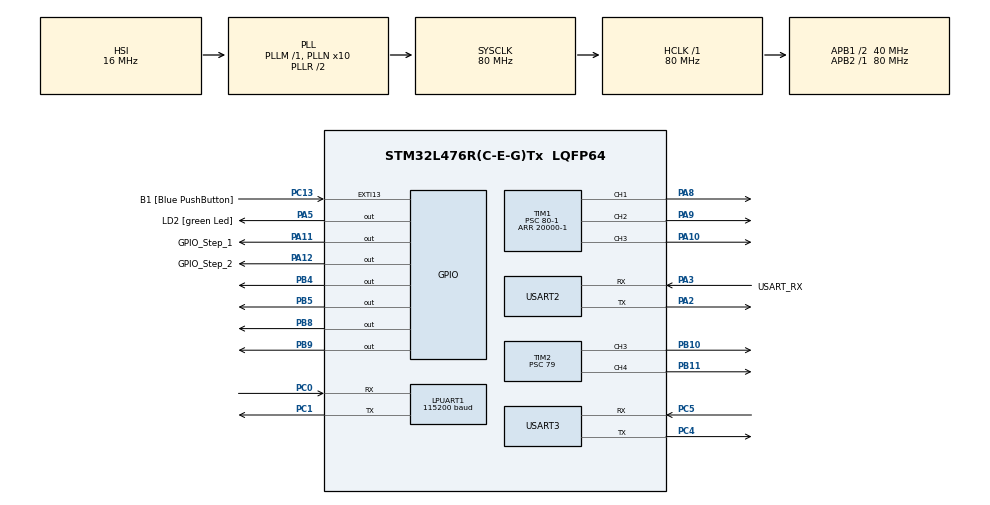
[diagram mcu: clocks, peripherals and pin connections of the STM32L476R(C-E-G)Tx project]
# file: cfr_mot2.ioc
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LPUART1.BaudRate=115200
LPUART1.WordLength=UART_WORDLENGTH_8B
Mcu.Family=STM32L4
Mcu.Name=STM32L476R(C-E-G)Tx
Mcu.Package=LQFP64
NVIC.LPUART1_IRQn=true\:0\:0\:false\:false\:true\:true\:true\:true
NVIC.PriorityGroup=NVIC_PRIORITYGROUP_4
PA10.Signal=S_TIM1_CH3
PA11.GPIO_Label=GPIO_Step_1
PA11.Signal=GPIO_Output
PA12.GPIO_Label=GPIO_Step_2
PA12.Signal=GPIO_Output
PA13\ (JTMS-SWDIO).GPIO_Label=TMS
PA13\ (JTMS-SWDIO).Mode=Serial_Wire
PA13\ (JTMS-SWDIO).Signal=SYS_JTMS-SWDIO
PA14\ (JTCK-SWCLK).GPIO_Label=TCK
PA14\ (JTCK-SWCLK).Mode=Serial_Wire
PA14\ (JTCK-SWCLK).Signal=SYS_JTCK-SWCLK
PA2.Mode=Asynchronous
PA2.Signal=USART2_TX
PA3.GPIO_Label=USART_RX
PA3.GPIO_Mode=GPIO_MODE_AF_PP
PA3.GPIO_PuPd=GPIO_NOPULL
PA3.GPIO_Speed=GPIO_SPEED_FREQ_VERY_HIGH
PA3.Mode=Asynchronous
PA3.Signal=USART2_RX
PA5.GPIO_Label=LD2 [green Led]
PA5.GPIO_ModeDefaultOutputPP=GPIO_MODE_OUTPUT_PP
PA5.GPIO_PuPd=GPIO_NOPULL
PA5.GPIO_Speed=GPIO_SPEED_FREQ_LOW
PA5.Signal=GPIO_Output
PA8.Signal=S_TIM1_CH1
PA9.Signal=S_TIM1_CH2
PB10.Signal=S_TIM2_CH3
PB11.Signal=S_TIM2_CH4
PB3\ (JTDO-TRACESWO).GPIO_Label=SWO
PB3\ (JTDO-TRACESWO).Signal=SYS_JTDO-SWO
PB4\ (NJTRST).Signal=GPIO_Output
PB5.Signal=GPIO_Output
PB8.Signal=GPIO_Output
PB9.Signal=GPIO_Output
PC0.Mode=Asynchronous
PC0.Signal=LPUART1_RX
PC1.Mode=Asynchronous
PC1.Signal=LPUART1_TX
PC13.GPIO_Label=B1 [Blue PushButton]
PC13.GPIO_ModeDefaultEXTI=GPIO_MODE_IT_FALLING
PC13.GPIO_PuPd=GPIO_NOPULL
PC13.Signal=GPXTI13
PC14-OSC32_IN\ (PC14).Mode=LSE-External-Oscillator
PC14-OSC32_IN\ (PC14).Signal=RCC_OSC32_IN
PC15-OSC32_OUT\ (PC15).Mode=LSE-External-Oscillator
PC15-OSC32_OUT\ (PC15).Signal=RCC_OSC32_OUT
PC4.Mode=Asynchronous
PC4.Signal=USART3_TX
PC5.Mode=Asynchronous
PC5.Signal=USART3_RX
PH0-OSC_IN\ (PH0).Mode=HSE-External-Oscillator
PH0-OSC_IN\ (PH0).Signal=RCC_OSC_IN
PH1-OSC_OUT\ (PH1).Mode=HSE-External-Oscillator
PH1-OSC_OUT\ (PH1).Signal=RCC_OSC_OUT
ProjectManager.HeapSize=0x200
ProjectManager.StackSize=0x400
ProjectManager.TargetToolchain=STM32CubeIDE
RCC.ADCFreq_Value=64000000
RCC.AHBFreq_Value=80000000
RCC.APB1CLKDivider=RCC_HCLK_DIV2
RCC.APB1Freq_Value=40000000
RCC.APB1TimFreq_Value=80000000
RCC.APB2Freq_Value=80000000
RCC.APB2TimFreq_Value=80000000
RCC.CortexFreq_Value=80000000
RCC.HCLKFreq_Value=80000000
RCC.HSE_VALUE=8000000
RCC.HSI_VALUE=16000000
RCC.MSI_VALUE=4000000
RCC.PLLN=10
RCC.PLLSourceVirtual=RCC_PLLSOURCE_HSI
RCC.PREFETCH_ENABLE=1
RCC.SYSCLKFreq_VALUE=80000000
RCC.SYSCLKSource=RCC_SYSCLKSOURCE_PLLCLK
RCC.USBFreq_Value=64000000
RCC.VCOOutputFreq_Value=160000000
SH.S_TIM1_CH1.0=TIM1_CH1,PWM Generation1 CH1
SH.S_TIM1_CH2.0=TIM1_CH2,PWM Generation2 CH2
SH.S_TIM1_CH3.0=TIM1_CH3,PWM Generation3 CH3
SH.S_TIM2_CH3.0=TIM2_CH3,PWM Generation3 CH3
SH.S_TIM2_CH4.0=TIM2_CH4,PWM Generation4 CH4
TIM1.Channel-PWM\ Generation1\ CH1=TIM_CHANNEL_1
TIM1.Channel-PWM\ Generation2\ CH2=TIM_CHANNEL_2
TIM1.Channel-PWM\ Generation3\ CH3=TIM_CHANNEL_3
TIM1.Period=20000-1
TIM1.Prescaler=80-1
TIM2.Channel-PWM\ Generation3\ CH3=TIM_CHANNEL_3
TIM2.Channel-PWM\ Generation4\ CH4=TIM_CHANNEL_4
TIM2.Period=1999
TIM2.Prescaler=79
USART2.VirtualMode-Asynchronous=VM_ASYNC
USART3.VirtualMode-Asynchronous=VM_ASYNC
VP_TIM1_VS_ClockSourceINT.Mode=Internal
VP_TIM2_VS_ClockSourceINT.Mode=Internal
board=NUCLEO-L476RG

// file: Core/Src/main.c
/* USER CODE BEGIN Header */
/**
  ******************************************************************************
  * @file           : main.c
  * @brief          : Main program body
  ******************************************************************************
  * @attention
  *
  * Copyright (c) 2024 STMicroelectronics.
  * All rights reserved.
  *
  * This software is licensed under terms that can be found in the LICENSE file
  * in the root directory of this software component.
  * If no LICENSE file comes with this software, it is provided AS-IS.
  *
  ******************************************************************************
  */
/* USER CODE END Header */
#include "main.h"

/* USER CODE BEGIN Includes */
#include <string.h>
#include <stdio.h>
#include "servo.h"
#include "maxon.h"
/* USER CODE END Includes */

UART_HandleTypeDef hlpuart1;
UART_HandleTypeDef huart2;
UART_HandleTypeDef huart3;

TIM_HandleTypeDef htim1;
TIM_HandleTypeDef htim2;

/* USER CODE BEGIN PV */
char rx_data[13];
char newline[] = "\r\n";
int i = 0;

/* USER CODE END PV */

void SystemClock_Config(void);
static void MX_GPIO_Init(void);
static void MX_TIM2_Init(void);
static void MX_LPUART1_UART_Init(void);
static void MX_TIM1_Init(void);
static void MX_USART2_UART_Init(void);
static void MX_USART3_UART_Init(void);

int main(void)
{

  /* MCU Configuration--------------------------------------------------------*/

  /* Reset of all peripherals, Initializes the Flash interface and the Systick. */
  HAL_Init();

  /* Configure the system clock */
  SystemClock_Config();

  /* Initialize all configured peripherals */
  MX_GPIO_Init();
  MX_TIM2_Init();
  MX_LPUART1_UART_Init();
  MX_TIM1_Init();
  MX_USART2_UART_Init();
  MX_USART3_UART_Init();
  /* USER CODE BEGIN 2 */
  HAL_TIM_PWM_Start(&htim2, TIM_CHANNEL_3); //PB10 TIM2 CH3
  HAL_TIM_PWM_Start(&htim2, TIM_CHANNEL_4); //PB11 TIM2 CH4
  HAL_TIM_PWM_Start(&htim1, TIM_CHANNEL_1); //PA8
  HAL_TIM_PWM_Start(&htim1, TIM_CHANNEL_2); //PA9
  HAL_TIM_PWM_Start(&htim1, TIM_CHANNEL_3); //PA10
  HAL_UART_Receive_IT(&hlpuart1, (uint8_t *)rx_data, sizeof(rx_data));
  /* USER CODE END 2 */

  /* Infinite loop */
  /* USER CODE BEGIN WHILE */
  while (1)
  {

	  // Pour le moteur Maxon droit
	  //char direction_d = rx_data[0]; // Premier caractère pour la direction
	  char mot_maxon_dataD[5];      // 4 caractères + '\0' pour la vitesse
	  strncpy(mot_maxon_dataD, (char *)&rx_data[1], 4);
	  mot_maxon_dataD[4] = '\0';    // Null terminate
	  int mot_maxon_valueD = atoi(mot_maxon_dataD);
	  int inv_d = rx_data[0] - '0';
	  mot_maxonD(mot_maxon_valueD, inv_d);//

	  // Pour le moteur Maxon gauche
	  //char direction_g = rx_data[5]; // Premier caractère pour la direction
	  char mot_maxon_dataG[5];      // 4 caractères + '\0' pour la vitesse
	  strncpy(mot_maxon_dataG, (char *)&rx_data[6], 4);
	  mot_maxon_dataG[4] = '\0';    // Null terminate
	  int mot_maxon_valueG = atoi(mot_maxon_dataG);
	  int inv_g = rx_data[5] - '0';
	  mot_maxonG(mot_maxon_valueG, inv_g);

	  // Pour le servo moteur
	  char servo_goal_data[4];
	  memcpy(servo_goal_data, (char *)&rx_data[10], 3);
	  servo_goal_data[3] = '\0';
	  reach_goal_servo(servo_goal_data);

	  //servo_goal_data[4] = '\r'; // Ajouter retour chariot
	  //servo_goal_data[5] = '\n';
	  //HAL_UART_Transmit(&huart3, (uint8_t *)servo_goal_data, 5, HAL_MAX_DELAY);

	  // Transmission pour debug
	  char message[15]; // 13 caractères de rx_data + 2 pour "\r\n"
	  memcpy(message, rx_data, 13); // Copier rx_data dans message
	  message[14] = '\r'; // Ajouter retour chariot
	  message[15] = '\n'; // Ajouter nouvelle ligne
	  HAL_UART_Transmit(&huart2, (uint8_t *)message, sizeof(message), HAL_MAX_DELAY);

    /* USER CODE END WHILE */

  }
}

void SystemClock_Config(void)
{
  RCC_OscInitTypeDef RCC_OscInitStruct = {0};
  RCC_ClkInitTypeDef RCC_ClkInitStruct = {0};

  /** Configure the main internal regulator output voltage
  */
  if (HAL_PWREx_ControlVoltageScaling(PWR_REGULATOR_VOLTAGE_SCALE1) != HAL_OK)
  {
    Error_Handler();
  }

  /** Initializes the RCC Oscillators according to the specified parameters
  * in the RCC_OscInitTypeDef structure.
  */
  RCC_OscInitStruct.OscillatorType = RCC_OSCILLATORTYPE_HSI;
  RCC_OscInitStruct.HSIState = RCC_HSI_ON;
  RCC_OscInitStruct.HSICalibrationValue = RCC_HSICALIBRATION_DEFAULT;
  RCC_OscInitStruct.PLL.PLLState = RCC_PLL_ON;
  RCC_OscInitStruct.PLL.PLLSource = RCC_PLLSOURCE_HSI;
  RCC_OscInitStruct.PLL.PLLM = 1;
  RCC_OscInitStruct.PLL.PLLN = 10;
  RCC_OscInitStruct.PLL.PLLP = RCC_PLLP_DIV7;
  RCC_OscInitStruct.PLL.PLLQ = RCC_PLLQ_DIV2;
  RCC_OscInitStruct.PLL.PLLR = RCC_PLLR_DIV2;
  if (HAL_RCC_OscConfig(&RCC_OscInitStruct) != HAL_OK)
  {
    Error_Handler();
  }

  /** Initializes the CPU, AHB and APB buses clocks
  */
  RCC_ClkInitStruct.ClockType = RCC_CLOCKTYPE_HCLK|RCC_CLOCKTYPE_SYSCLK
                              |RCC_CLOCKTYPE_PCLK1|RCC_CLOCKTYPE_PCLK2;
  RCC_ClkInitStruct.SYSCLKSource = RCC_SYSCLKSOURCE_PLLCLK;
  RCC_ClkInitStruct.AHBCLKDivider = RCC_SYSCLK_DIV1;
  RCC_ClkInitStruct.APB1CLKDivider = RCC_HCLK_DIV2;
  RCC_ClkInitStruct.APB2CLKDivider = RCC_HCLK_DIV1;

  if (HAL_RCC_ClockConfig(&RCC_ClkInitStruct, FLASH_LATENCY_4) != HAL_OK)
  {
    Error_Handler();
  }
}

static void MX_LPUART1_UART_Init(void)
{

  hlpuart1.Instance = LPUART1;
  hlpuart1.Init.BaudRate = 115200;
  hlpuart1.Init.WordLength = UART_WORDLENGTH_8B;
  hlpuart1.Init.StopBits = UART_STOPBITS_1;
  hlpuart1.Init.Parity = UART_PARITY_NONE;
  hlpuart1.Init.Mode = UART_MODE_TX_RX;
  hlpuart1.Init.HwFlowCtl = UART_HWCONTROL_NONE;
  hlpuart1.Init.OneBitSampling = UART_ONE_BIT_SAMPLE_DISABLE;
  hlpuart1.AdvancedInit.AdvFeatureInit = UART_ADVFEATURE_NO_INIT;
  if (HAL_UART_Init(&hlpuart1) != HAL_OK)
  {
    Error_Handler();
  }

}

static void MX_USART2_UART_Init(void)
{

  huart2.Instance = USART2;
  huart2.Init.BaudRate = 115200;
  huart2.Init.WordLength = UART_WORDLENGTH_8B;
  huart2.Init.StopBits = UART_STOPBITS_1;
  huart2.Init.Parity = UART_PARITY_NONE;
  huart2.Init.Mode = UART_MODE_TX_RX;
  huart2.Init.HwFlowCtl = UART_HWCONTROL_NONE;
  huart2.Init.OverSampling = UART_OVERSAMPLING_16;
  huart2.Init.OneBitSampling = UART_ONE_BIT_SAMPLE_DISABLE;
  huart2.AdvancedInit.AdvFeatureInit = UART_ADVFEATURE_NO_INIT;
  if (HAL_UART_Init(&huart2) != HAL_OK)
  {
    Error_Handler();
  }

}

static void MX_USART3_UART_Init(void)
{

  huart3.Instance = USART3;
  huart3.Init.BaudRate = 115200;
  huart3.Init.WordLength = UART_WORDLENGTH_8B;
  huart3.Init.StopBits = UART_STOPBITS_1;
  huart3.Init.Parity = UART_PARITY_NONE;
  huart3.Init.Mode = UART_MODE_TX_RX;
  huart3.Init.HwFlowCtl = UART_HWCONTROL_NONE;
  huart3.Init.OverSampling = UART_OVERSAMPLING_16;
  huart3.Init.OneBitSampling = UART_ONE_BIT_SAMPLE_DISABLE;
  huart3.AdvancedInit.AdvFeatureInit = UART_ADVFEATURE_NO_INIT;
  if (HAL_UART_Init(&huart3) != HAL_OK)
  {
    Error_Handler();
  }

}

static void MX_TIM1_Init(void)
{

  TIM_ClockConfigTypeDef sClockSourceConfig = {0};
  TIM_MasterConfigTypeDef sMasterConfig = {0};
  TIM_OC_InitTypeDef sConfigOC = {0};
  TIM_BreakDeadTimeConfigTypeDef sBreakDeadTimeConfig = {0};

  htim1.Instance = TIM1;
  htim1.Init.Prescaler = 80-1;
  htim1.Init.CounterMode = TIM_COUNTERMODE_UP;
  htim1.Init.Period = 20000-1;
  htim1.Init.ClockDivision = TIM_CLOCKDIVISION_DIV1;
  htim1.Init.RepetitionCounter = 0;
  htim1.Init.AutoReloadPreload = TIM_AUTORELOAD_PRELOAD_DISABLE;
  if (HAL_TIM_Base_Init(&htim1) != HAL_OK)
  {
    Error_Handler();
  }
  sClockSourceConfig.ClockSource = TIM_CLOCKSOURCE_INTERNAL;
  if (HAL_TIM_ConfigClockSource(&htim1, &sClockSourceConfig) != HAL_OK)
  {
    Error_Handler();
  }
  if (HAL_TIM_PWM_Init(&htim1) != HAL_OK)
  {
    Error_Handler();
  }
  sMasterConfig.MasterOutputTrigger = TIM_TRGO_RESET;
  sMasterConfig.MasterOutputTrigger2 = TIM_TRGO2_RESET;
  sMasterConfig.MasterSlaveMode = TIM_MASTERSLAVEMODE_DISABLE;
  if (HAL_TIMEx_MasterConfigSynchronization(&htim1, &sMasterConfig) != HAL_OK)
  {
    Error_Handler();
  }
  sConfigOC.OCMode = TIM_OCMODE_PWM1;
  sConfigOC.Pulse = 0;
  sConfigOC.OCPolarity = TIM_OCPOLARITY_HIGH;
  sConfigOC.OCNPolarity = TIM_OCNPOLARITY_HIGH;
  sConfigOC.OCFastMode = TIM_OCFAST_DISABLE;
  sConfigOC.OCIdleState = TIM_OCIDLESTATE_RESET;
  sConfigOC.OCNIdleState = TIM_OCNIDLESTATE_RESET;
  if (HAL_TIM_PWM_ConfigChannel(&htim1, &sConfigOC, TIM_CHANNEL_1) != HAL_OK)
  {
    Error_Handler();
  }
  if (HAL_TIM_PWM_ConfigChannel(&htim1, &sConfigOC, TIM_CHANNEL_2) != HAL_OK)
  {
    Error_Handler();
  }
  if (HAL_TIM_PWM_ConfigChannel(&htim1, &sConfigOC, TIM_CHANNEL_3) != HAL_OK)
  {
    Error_Handler();
  }
  sBreakDeadTimeConfig.OffStateRunMode = TIM_OSSR_DISABLE;
  sBreakDeadTimeConfig.OffStateIDLEMode = TIM_OSSI_DISABLE;
  sBreakDeadTimeConfig.LockLevel = TIM_LOCKLEVEL_OFF;
  sBreakDeadTimeConfig.DeadTime = 0;
  sBreakDeadTimeConfig.BreakState = TIM_BREAK_DISABLE;
  sBreakDeadTimeConfig.BreakPolarity = TIM_BREAKPOLARITY_HIGH;
  sBreakDeadTimeConfig.BreakFilter = 0;
  sBreakDeadTimeConfig.Break2State = TIM_BREAK2_DISABLE;
  sBreakDeadTimeConfig.Break2Polarity = TIM_BREAK2POLARITY_HIGH;
  sBreakDeadTimeConfig.Break2Filter = 0;
  sBreakDeadTimeConfig.AutomaticOutput = TIM_AUTOMATICOUTPUT_DISABLE;
  if (HAL_TIMEx_ConfigBreakDeadTime(&htim1, &sBreakDeadTimeConfig) != HAL_OK)
  {
    Error_Handler();
  }
  HAL_TIM_MspPostInit(&htim1);

}

static void MX_TIM2_Init(void)
{

  TIM_ClockConfigTypeDef sClockSourceConfig = {0};
  TIM_MasterConfigTypeDef sMasterConfig = {0};
  TIM_OC_InitTypeDef sConfigOC = {0};

  htim2.Instance = TIM2;
  htim2.Init.Prescaler = 79;
  htim2.Init.CounterMode = TIM_COUNTERMODE_UP;
  htim2.Init.Period = 1999;
  htim2.Init.ClockDivision = TIM_CLOCKDIVISION_DIV1;
  htim2.Init.AutoReloadPreload = TIM_AUTORELOAD_PRELOAD_DISABLE;
  if (HAL_TIM_Base_Init(&htim2) != HAL_OK)
  {
    Error_Handler();
  }
  sClockSourceConfig.ClockSource = TIM_CLOCKSOURCE_INTERNAL;
  if (HAL_TIM_ConfigClockSource(&htim2, &sClockSourceConfig) != HAL_OK)
  {
    Error_Handler();
  }
  if (HAL_TIM_PWM_Init(&htim2) != HAL_OK)
  {
    Error_Handler();
  }
  sMasterConfig.MasterOutputTrigger = TIM_TRGO_RESET;
  sMasterConfig.MasterSlaveMode = TIM_MASTERSLAVEMODE_DISABLE;
  if (HAL_TIMEx_MasterConfigSynchronization(&htim2, &sMasterConfig) != HAL_OK)
  {
    Error_Handler();
  }
  sConfigOC.OCMode = TIM_OCMODE_PWM1;
  sConfigOC.Pulse = 0;
  sConfigOC.OCPolarity = TIM_OCPOLARITY_HIGH;
  sConfigOC.OCFastMode = TIM_OCFAST_DISABLE;
  if (HAL_TIM_PWM_ConfigChannel(&htim2, &sConfigOC, TIM_CHANNEL_3) != HAL_OK)
  {
    Error_Handler();
  }
  if (HAL_TIM_PWM_ConfigChannel(&htim2, &sConfigOC, TIM_CHANNEL_4) != HAL_OK)
  {
    Error_Handler();
  }
  HAL_TIM_MspPostInit(&htim2);

}

static void MX_GPIO_Init(void)
{
  GPIO_InitTypeDef GPIO_InitStruct = {0};

  /* GPIO Ports Clock Enable */
  __HAL_RCC_GPIOC_CLK_ENABLE();
  __HAL_RCC_GPIOH_CLK_ENABLE();
  __HAL_RCC_GPIOA_CLK_ENABLE();
  __HAL_RCC_GPIOB_CLK_ENABLE();

  /*Configure GPIO pin Output Level */
  HAL_GPIO_WritePin(GPIOA, LD2_Pin|GPIO_Step_1_Pin|GPIO_Step_2_Pin, GPIO_PIN_RESET);

  /*Configure GPIO pin Output Level */
  HAL_GPIO_WritePin(GPIOB, GPIO_PIN_4|GPIO_PIN_5|GPIO_PIN_8|GPIO_PIN_9, GPIO_PIN_RESET);

  /*Configure GPIO pin : B1_Pin */
  GPIO_InitStruct.Pin = B1_Pin;
  GPIO_InitStruct.Mode = GPIO_MODE_IT_FALLING;
  GPIO_InitStruct.Pull = GPIO_NOPULL;
  HAL_GPIO_Init(B1_GPIO_Port, &GPIO_InitStruct);

  /*Configure GPIO pins : LD2_Pin GPIO_Step_1_Pin GPIO_Step_2_Pin */
  GPIO_InitStruct.Pin = LD2_Pin|GPIO_Step_1_Pin|GPIO_Step_2_Pin;
  GPIO_InitStruct.Mode = GPIO_MODE_OUTPUT_PP;
  GPIO_InitStruct.Pull = GPIO_NOPULL;
  GPIO_InitStruct.Speed = GPIO_SPEED_FREQ_LOW;
  HAL_GPIO_Init(GPIOA, &GPIO_InitStruct);

  /*Configure GPIO pins : PB4 PB5 PB8 PB9 */
  GPIO_InitStruct.Pin = GPIO_PIN_4|GPIO_PIN_5|GPIO_PIN_8|GPIO_PIN_9;
  GPIO_InitStruct.Mode = GPIO_MODE_OUTPUT_PP;
  GPIO_InitStruct.Pull = GPIO_NOPULL;
  GPIO_InitStruct.Speed = GPIO_SPEED_FREQ_LOW;
  HAL_GPIO_Init(GPIOB, &GPIO_InitStruct);

}

/* USER CODE BEGIN 4 */
void HAL_UART_RxCpltCallback(UART_HandleTypeDef *huart)
{
	if (huart == &hlpuart1) {
		// Réactiver la réception immédiatement
		HAL_UART_Receive_IT(&hlpuart1, (uint8_t *)rx_data, sizeof(rx_data));
	}
}
/* USER CODE END 4 */

void Error_Handler(void)
{
  __disable_irq();
  while (1)
  {
  }
}
